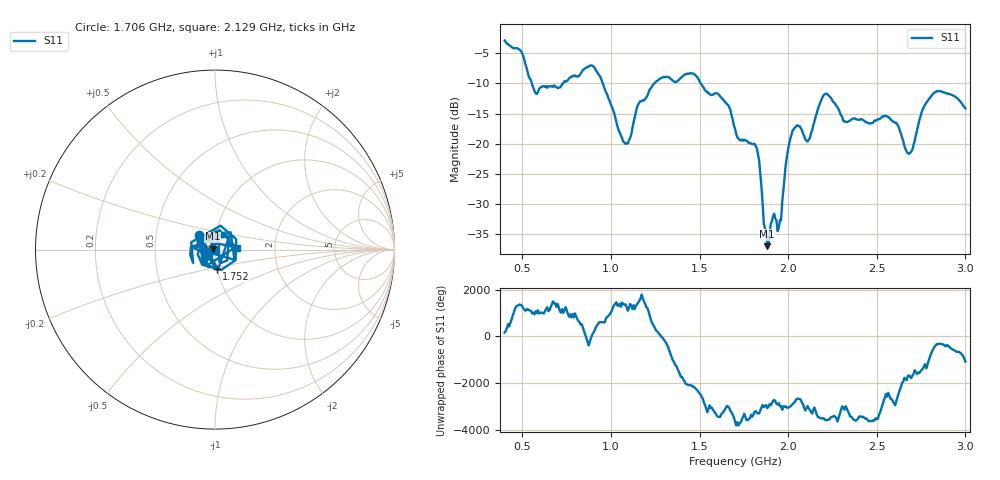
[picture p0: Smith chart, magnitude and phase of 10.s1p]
!Created with skrf (http://scikit-rf.org).
# Hz S RI R 50.0
!freq ReS11 ImS11
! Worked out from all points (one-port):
!   401 points, 400 MHz to 3 GHz, reference 50 ohm
!   lowest |S11| = -37.0 dB at 1.882 GHz (marker M1), VSWR 1.03, Z = 48.7 + j0.491 ohm
!   |S11| at or under -10 dB: 553.5 MHz to 728.8 MHz (175.3 MHz wide, 27.3 % of centre); 953.8 MHz to 1.245 GHz (291.4 MHz wide, 26.5 % of centre); 1.507 GHz to end of sweep
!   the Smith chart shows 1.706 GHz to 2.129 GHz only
!   S11 on the Smith chart (normalised r, x): 1.706 GHz: 0.83, +0.14; 1.752 GHz: 0.99, -0.22; 2.129 GHz: 1.28, +0.02
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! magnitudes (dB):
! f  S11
! 400 MHz  -2.9
! 491 MHz  -4.6
! 575.5 MHz  -11.6
! 725 MHz  -10.1
! 900.5 MHz  -7.2
! 1.05 GHz  -18.2
! 1.095 GHz  -20.0
! 1.154 GHz  -13.5
! 1.258 GHz  -9.6
! 1.375 GHz  -9.6
! 1.472 GHz  -8.5
! 1.655 GHz  -13.4
! 1.7 GHz  -17.5
! 1.706 GHz  -18.4
! 1.752 GHz  -19.3
! 1.823 GHz  -20.8
! 1.882 GHz  -37.0
! 1.915 GHz  -32.1
! 1.954 GHz  -32.7
! 1.992 GHz  -22.2
! 2.025 GHz  -17.8
! 2.129 GHz  -18.2
! 2.213 GHz  -11.7
! 2.35 GHz  -16.1
! 2.558 GHz  -15.4
! 2.675 GHz  -21.6
! 2.825 GHz  -11.5
! 3 GHz  -14.1
